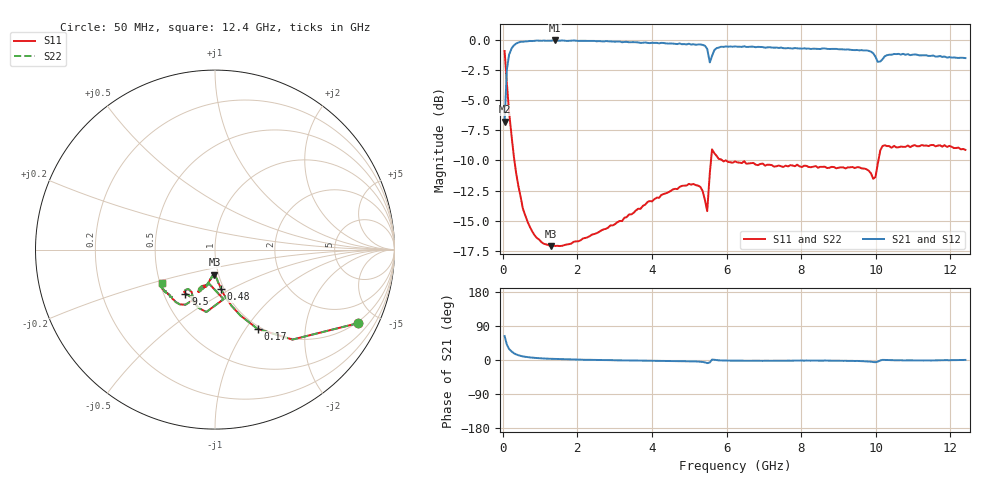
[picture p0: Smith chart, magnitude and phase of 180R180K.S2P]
!  American Technical Ceramics  Date:  3/13/98
!  One Norden Lane
!  Huntington Station,  NY.  11746-2102
!  Tel:  (516) 547-5700  Fax:  (516) 547-5748
!  Part Number  180r180k
!  Description: Porcelain, High Q, Low ESR
!  Application: Bypass, Coupling, Timing, Feedback
!  Tuning, Impedance Match, Blocking
# GHZ S DB R 50
! Freq  |S11|  S11 Ph  |S21|  S21 Ph  |S12|  S12 Ph  |S22|  S22 Ph
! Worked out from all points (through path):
!   201 points, 50 MHz to 12.4 GHz, reference 50 ohm
!   highest |S21| = -0.07 dB at 1.41 GHz (marker M1); lowest = -6.8 dB at 50 MHz (marker M2)
!   group delay of S21, straight-line fit = 2.19 ps
!   lowest |S11| = -17.1 dB at 1.29 GHz (marker M3), VSWR 1.32, Z = 47.8 - j13.6 ohm
!   |S11| at or under -10 dB: 312 MHz to 5.582 GHz (5.27 GHz wide, 179 % of centre); 5.883 GHz to 10.07 GHz (4.186 GHz wide, 52.5 % of centre)
!   |S22| runs from -17.1 to -0.9 dB; largest |S21 - S12| = 0
!   S11 on the Smith chart (normalised r, x): 50 MHz: 0.94, -3.92; 170 MHz: 0.96, -1.14; 480 MHz: 0.97, -0.45; 9.5 GHz: 0.64, -0.35; 12.4 GHz: 0.51, -0.22
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0.05  -0.95 -27.2  -6.79 63.2  -6.79 63.2  -0.95 -27.2
0.11  -3.59 -49.3  -2.49 40.8  -2.49 40.8  -3.59 -49.3
0.17  -6.00 -61.8  -1.25 29.0  -1.25 29.0  -6.00 -61.8
0.3  -9.73 -73.6  -0.47 17.8  -0.47 17.8  -9.73 -73.6
0.48  -13.04 -81.2  -0.18 11.0  -0.18 11.0  -13.04 -81.2
0.79  -15.89 -86.9  -0.12 6.2  -0.12 6.2  -15.89 -86.9
1.29  -17.11 -91.3  -0.09 3.1  -0.09 3.1  -17.11 -91.3
1.41  -17.09 -92.1  -0.07 2.8  -0.07 2.8  -17.09 -92.1
2.15  -16.47 -95.5  -0.10 0.8  -0.10 0.8  -16.47 -95.5
4.19  -13.10 -107.1  -0.31 -2.2  -0.31 -2.2  -13.10 -107.1
5.11  -11.96 -111.8  -0.38 -3.7  -0.38 -3.7  -11.96 -111.8
5.48  -14.21 -99.0  -0.77 -8.3  -0.77 -8.3  -14.21 -99.0
5.55  -11.05 -80.1  -1.89 -6.4  -1.89 -6.4  -11.05 -80.1
5.61  -9.09 -97.9  -1.35 1.0  -1.35 1.0  -9.09 -97.9
5.73  -9.62 -108.0  -0.71 -0.2  -0.71 -0.2  -9.62 -108.0
6.23  -10.09 -112.2  -0.56 -1.9  -0.56 -1.9  -10.09 -112.2
8.32  -10.53 -114.8  -0.75 -1.5  -0.75 -1.5  -10.53 -114.8
9.5  -10.56 -123.7  -0.86 -2.5  -0.86 -2.5  -10.56 -123.7
9.93  -11.53 -124.1  -1.13 -5.4  -1.13 -5.4  -11.53 -124.1
10.05  -10.32 -113.5  -1.84 -4.5  -1.84 -4.5  -10.32 -113.5
10.36  -8.82 -131.3  -1.25 -0.2  -1.25 -0.2  -8.82 -131.3
12.4  -9.13 -147.9  -1.53 0.2  -1.53 0.2  -9.13 -147.9
